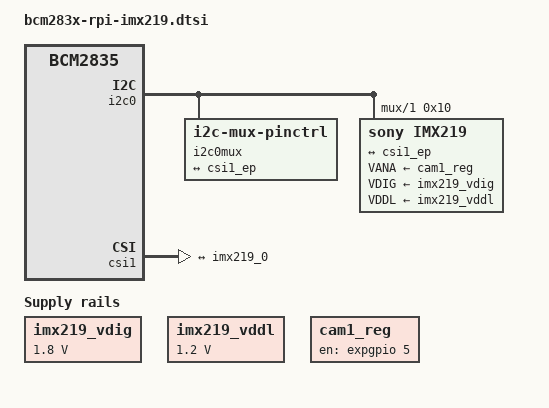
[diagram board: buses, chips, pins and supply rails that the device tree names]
// SPDX-License-Identifier: GPL-2.0
#include <dt-bindings/clock/bcm2835.h>

/ {
	compatible = "brcm,bcm2835";

	imx219_vdig: fixedregulator@1 {
		compatible = "regulator-fixed";
		regulator-name = "imx219_vdig";
		regulator-min-microvolt = <1800000>;
		regulator-max-microvolt = <1800000>;
	};

	imx219_vddl: fixedregulator@2 {
		compatible = "regulator-fixed";
		regulator-name = "imx219_vddl";
		regulator-min-microvolt = <1200000>;
		regulator-max-microvolt = <1200000>;
	};

	imx219_clk: imx219_clk {
		#clock-cells = <0>;
		compatible = "fixed-clock";
		clock-frequency = <24000000>;
		clock-output-names = "24MHz-clock";
	};

	cam1_reg: cam1_reg {
		compatible = "regulator-fixed";
		regulator-name = "imx219_vana";
		enable-active-high;
		status = "okay";
		gpio = <&expgpio 5 GPIO_ACTIVE_HIGH>;
	};

	i2c0mux {
		compatible = "i2c-mux-pinctrl";
		#address-cells = <1>;
		#size-cells = <0>;

		i2c-parent = <&i2c0>;

		pinctrl-names = "i2c0", "i2c_csi_dsi";
		pinctrl-0 = <&i2c0_gpio0>;
		pinctrl-1 = <&i2c0_gpio44>;

		i2c@0 {
			reg = <0>;
			#address-cells = <1>;
			#size-cells = <0>;
		};

		i2c@1 {
			reg = <1>;
			#address-cells = <1>;
			#size-cells = <0>;
			imx219: sensor@10 {
				compatible = "sony,imx219";
				reg = <0x10>;
				status = "okay";

				clocks = <&imx219_clk>;
				clock-names = "xclk";

				VANA-supply = <&cam1_reg>;   /* 2.8v */
				VDIG-supply = <&imx219_vdig>;   /* 1.8v */
				VDDL-supply = <&imx219_vddl>;   /* 1.2v */

				rotation = <0>;
				orientation = <0>;

				port {
					imx219_0: endpoint {
						remote-endpoint = <&csi1_ep>;
						clock-lanes = <0>;
						data-lanes = <1 2>;
						clock-noncontinuous;
						link-frequencies = /bits/ 64 <456000000>;
					};
				};
			};
		};
	};
};

&csi1 {
	status="okay";
	num-data-lanes = <2>;
	port {
		csi1_ep: endpoint {
			remote-endpoint = <&imx219_0>;
			data-lanes = <1 2>;
			clock-lanes = <0>;
		};
	};
};

&i2c0 {
	/delete-property/ pinctrl-names;
	/delete-property/ pinctrl-0;
};

